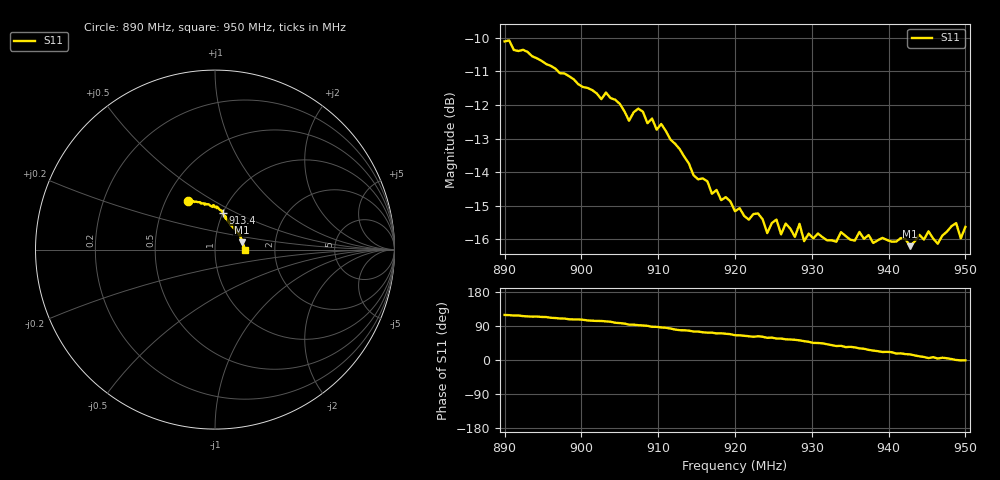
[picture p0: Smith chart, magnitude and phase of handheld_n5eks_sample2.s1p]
# HZ S RI R 50
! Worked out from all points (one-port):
!   101 points, 890 MHz to 950 MHz, reference 50 ohm
!   lowest |S11| = -16.2 dB at 942.8 MHz (marker M1), VSWR 1.37, Z = 67.3 + j5.49 ohm
!   |S11| at or under -10 dB: start of sweep to end of sweep
!   S11 on the Smith chart (normalised r, x): 890 MHz: 0.64, +0.39; 913.4 MHz: 1.00, +0.43; 950 MHz: 1.40, -0.01
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8.9e8  -0.1511 0.2734
8.978e8  -0.0927 0.2642
9.05e8  -0.0325 0.2501
9.062e8  -0.0136 0.2377
9.074e8  -0.00822 0.248
9.098e8  0.01 0.2307
9.104e8  0.017 0.2348
9.128e8  0.0424 0.2118
9.134e8  0.042 0.2062
9.146e8  0.0507 0.1909
9.2e8  0.0727 0.1586
9.23e8  0.0795 0.1539
9.242e8  0.0846 0.1381
9.254e8  0.0934 0.1416
9.26e8  0.0888 0.1346
9.266e8  0.0969 0.1364
9.278e8  0.0956 0.1281
9.284e8  0.1033 0.1314
9.29e8  0.1018 0.1202
9.338e8  0.1289 0.0989
9.35e8  0.13 0.0904
9.362e8  0.1398 0.083
9.428e8  0.1496 0.0398
9.452e8  0.1623 0.0144
9.464e8  0.1558 0.0105
9.488e8  0.1676 0.000124
9.494e8  0.159 -0.00278
9.5e8  0.1654 -0.00237
